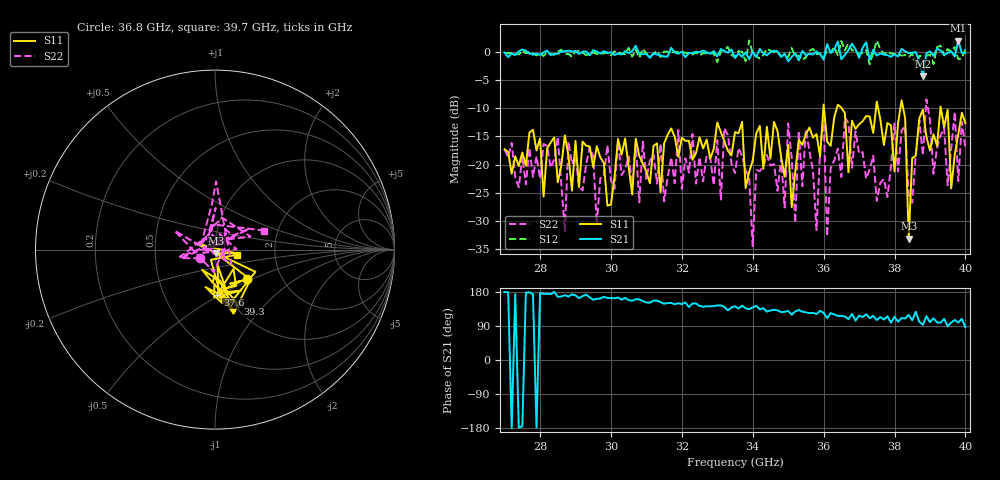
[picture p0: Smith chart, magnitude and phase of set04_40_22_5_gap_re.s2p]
! Quiescent point : V1=-1.76102E-02 I1=+1.37078E-03 V2=-2.32797E-02 I2=-1.35528E-03
! Pulsed point : V1=-1.72979E-02 I1=+1.38910E-03 V2=-2.30541E-02 I2=-1.34140E-03
! Period : +2.00000E-04
! Input Supply timing : delay=+1.60000E-06 width=+2.20000E-06
! Output Supply timing : delay=+1.70000E-06 width=+2.00000E-06
! VNA timing : delay=+2.40000E-06 width=+1.10000E-06
# Hz S RI R 50
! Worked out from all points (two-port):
!   131 points, 27 GHz to 40 GHz, reference 50 ohm
!   highest |S21| = 1.98 dB at 39.8 GHz (marker M1); lowest = -4.3 dB at 38.8 GHz (marker M2)
!   |S21| within 3 dB of the highest: start of sweep to 31.09 GHz; 31.11 GHz to 33.49 GHz (2.387 GHz wide, 7.39 % of centre)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
!   lowest |S11| = -33.1 dB at 38.4 GHz (marker M3), VSWR 1.05, Z = 50.7 - j2.11 ohm
!   |S11| at or under -10 dB: start of sweep to 35.99 GHz; 36.51 GHz to 37.48 GHz (967.9 MHz wide, 2.62 % of centre); 38.24 GHz to 39.3 GHz (1.051 GHz wide, 2.71 % of centre)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
!   |S22| runs from -34.4 to -8.4 dB; largest |S21 - S12| = 0.49
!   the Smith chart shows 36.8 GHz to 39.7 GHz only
!   S11 on the Smith chart (normalised r, x): 36.8 GHz: 1.34, -0.47; 37.6 GHz: 0.90, -0.49; 39.3 GHz: 1.05, -0.71; 39.7 GHz: 1.27, -0.07
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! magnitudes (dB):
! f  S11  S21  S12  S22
! 27 GHz  -17.3  -0.1  -0.2  -17.4
! 29.2 GHz  -15.9  0.0  -0.2  -24.6
! 31.4 GHz  -24.9  -0.6  -0.9  -16.3
! 33.5 GHz  -14.2  -1.1  -0.9  -21.5
! 34 GHz  -19.3  0.0  -0.3  -34.4
! 34.4 GHz  -13.3  -0.6  0.5  -18.3
! 34.9 GHz  -22.1  -0.3  -0.7  -27.6
! 35 GHz  -16.5  -1.7  -0.9  -12.7
! 35.2 GHz  -21.3  -0.3  -0.8  -30.3
! 35.3 GHz  -15.6  -1.5  -0.6  -14.0
! 35.7 GHz  -15.2  -0.5  0.5  -21.1
! 36.1 GHz  -15.9  1.4  0.3  -32.7
! 36.8 GHz  -12.2  1.4  0.3  -20.5
! 37.6 GHz  -12.0  -0.3  0.5  -23.2
! 37.9 GHz  -13.0  -0.9  -0.3  -20.4
! 38.3 GHz  -11.8  0.1  -0.6  -13.2
! 38.4 GHz  -33.1  -0.2  -0.9  -25.2
! 38.8 GHz  -10.2  -4.3  -0.8  -18.3
! 39.3 GHz  -9.7  0.2  1.1  -14.8
! 39.7 GHz  -18.2  -0.8  0.8  -10.7
! 39.8 GHz  -14.6  2.0  -1.3  -22.9
! 40 GHz  -12.6  -0.2  0.5  -17.0
